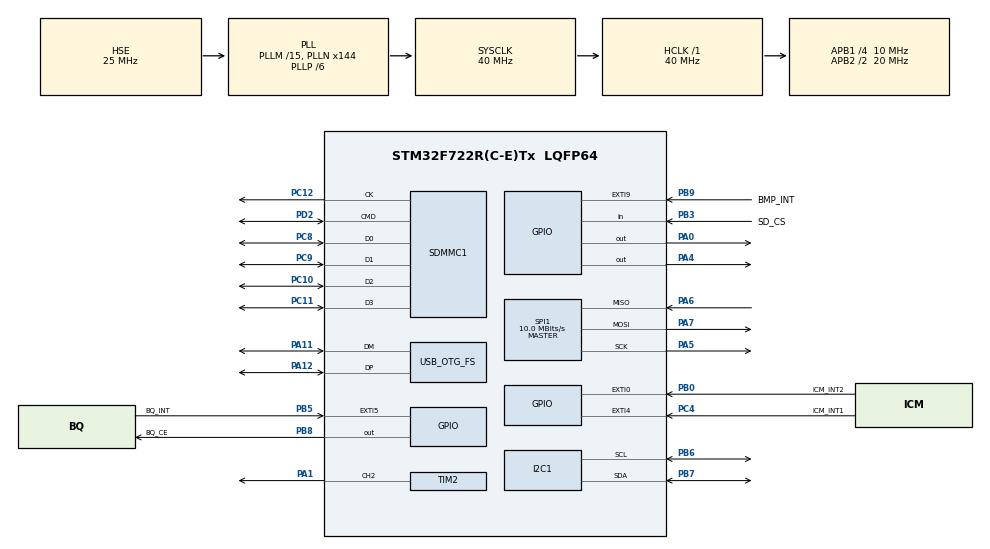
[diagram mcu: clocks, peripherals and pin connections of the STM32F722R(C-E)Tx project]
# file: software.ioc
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CORTEX_M7.default_mode_Activation=1
FATFS.BSP.number=1
FATFS0.BSP.STBoard=false
FATFS0.BSP.api=Unknown
FATFS0.BSP.instance=PB3
FATFS0.BSP.ip=GPIO
FATFS0.BSP.mode=Input
FATFS0.BSP.name=Detect_SDIO
FATFS0.BSP.solution=PB3
I2C1.Timing=0x00202538
Mcu.Family=STM32F7
Mcu.Name=STM32F722R(C-E)Tx
Mcu.Package=LQFP64
NVIC.OTG_FS_IRQn=true\:0\:0\:false\:false\:true\:false\:true\:true
NVIC.PriorityGroup=NVIC_PRIORITYGROUP_4
PA0-WKUP.Signal=GPIO_Output
PA1.Signal=S_TIM2_CH2
PA11.Mode=Device_Only
PA11.Signal=USB_OTG_FS_DM
PA12.Mode=Device_Only
PA12.Signal=USB_OTG_FS_DP
PA4.Signal=GPIO_Output
PA5.Mode=Full_Duplex_Master
PA5.Signal=SPI1_SCK
PA6.Mode=Full_Duplex_Master
PA6.Signal=SPI1_MISO
PA7.Mode=Full_Duplex_Master
PA7.Signal=SPI1_MOSI
PB0.GPIO_Label=ICM_INT2
PB0.Signal=GPXTI0
PB3.GPIO_Label=SD_CS
PB3.Signal=GPIO_Input
PB5.GPIO_Label=BQ_INT
PB5.Signal=GPXTI5
PB6.Mode=I2C
PB6.Signal=I2C1_SCL
PB7.Mode=I2C
PB7.Signal=I2C1_SDA
PB8.GPIO_Label=BQ_CE
PB8.Signal=GPIO_Output
PB9.GPIO_Label=BMP_INT
PB9.Signal=GPXTI9
PC10.Mode=SD_4_bits_Wide_bus
PC10.Signal=SDMMC1_D2
PC11.Mode=SD_4_bits_Wide_bus
PC11.Signal=SDMMC1_D3
PC12.Mode=SD_4_bits_Wide_bus
PC12.Signal=SDMMC1_CK
PC14-OSC32_IN.Mode=LSE-External-Oscillator
PC14-OSC32_IN.Signal=RCC_OSC32_IN
PC15-OSC32_OUT.Mode=LSE-External-Oscillator
PC15-OSC32_OUT.Signal=RCC_OSC32_OUT
PC4.GPIO_Label=ICM_INT1
PC4.Signal=GPXTI4
PC8.Mode=SD_4_bits_Wide_bus
PC8.Signal=SDMMC1_D0
PC9.Mode=SD_4_bits_Wide_bus
PC9.Signal=SDMMC1_D1
PD2.Mode=SD_4_bits_Wide_bus
PD2.Signal=SDMMC1_CMD
PH0-OSC_IN.Mode=HSE-External-Oscillator
PH0-OSC_IN.Signal=RCC_OSC_IN
PH1-OSC_OUT.Mode=HSE-External-Oscillator
PH1-OSC_OUT.Signal=RCC_OSC_OUT
ProjectManager.HeapSize=0x200
ProjectManager.StackSize=0x400
ProjectManager.TargetToolchain=Makefile
RCC.AHBFreq_Value=40000000
RCC.APB1CLKDivider=RCC_HCLK_DIV4
RCC.APB1Freq_Value=10000000
RCC.APB1TimFreq_Value=20000000
RCC.APB2CLKDivider=RCC_HCLK_DIV2
RCC.APB2Freq_Value=20000000
RCC.APB2TimFreq_Value=40000000
RCC.CortexFreq_Value=40000000
RCC.HCLKFreq_Value=40000000
RCC.HSE_VALUE=25000000
RCC.HSI_VALUE=16000000
RCC.PLLM=15
RCC.PLLN=144
RCC.PLLP=RCC_PLLP_DIV6
RCC.PLLQ=5
RCC.SYSCLKFreq_VALUE=40000000
RCC.SYSCLKSource=RCC_SYSCLKSOURCE_PLLCLK
RCC.USBFreq_Value=48000000
RCC.VCOOutputFreq_Value=240000000
SH.S_TIM2_CH2.0=TIM2_CH2,PWM Generation2 CH2
SPI1.CalculateBaudRate=10.0 MBits/s
SPI1.Direction=SPI_DIRECTION_2LINES
SPI1.Mode=SPI_MODE_MASTER
SPI1.VirtualType=VM_MASTER
TIM2.Channel-PWM\ Generation2\ CH2=TIM_CHANNEL_2
USB_DEVICE.CLASS_NAME_FS=CDC
USB_DEVICE.VirtualMode-CDC_FS=Cdc
USB_DEVICE.VirtualModeFS=Cdc_FS
USB_OTG_FS.VirtualMode=Device_Only
VP_FATFS_VS_SDIO.Mode=SDIO
VP_TIM2_VS_ClockSourceINT.Mode=Internal
VP_USB_DEVICE_VS_USB_DEVICE_CDC_FS.Mode=CDC_FS
board=custom

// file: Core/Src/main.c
/* USER CODE BEGIN Header */
/**
  ******************************************************************************
  * @file           : main.c
  * @brief          : Main program body
  ******************************************************************************
  * @attention
  *
  * Copyright (c) 2025 STMicroelectronics.
  * All rights reserved.
  *
  * This software is licensed under terms that can be found in the LICENSE file
  * in the root directory of this software component.
  * If no LICENSE file comes with this software, it is provided AS-IS.
  *
  ******************************************************************************
  */
/* USER CODE END Header */
#include "main.h"
#include "fatfs.h"
#include "usb_device.h"

/* USER CODE BEGIN Includes */

#include "usbd_cdc_if.h"
#include <stdio.h>
#include "fatfs.h"
#include <stdio.h>
#include <string.h>

/* USER CODE END Includes */

I2C_HandleTypeDef hi2c1;

SD_HandleTypeDef hsd1;

SPI_HandleTypeDef hspi1;

TIM_HandleTypeDef htim2;

/* USER CODE BEGIN PV */

FATFS fs;

/* USER CODE END PV */

void SystemClock_Config(void);
static void MPU_Config(void);
static void MX_GPIO_Init(void);
static void MX_I2C1_Init(void);
static void MX_SPI1_Init(void);
static void MX_SDMMC1_SD_Init(void);
static void MX_TIM2_Init(void);
/* USER CODE BEGIN PFP */

uint8_t ICM_SPI_Read(uint8_t reg);
void ICM_SPI_Write(uint8_t reg, uint8_t value);
void TestICMRegisters(void);
int16_t ICM_ReadAccelX(void);

/* USER CODE END PFP */

/* USER CODE BEGIN 0 */

void ICM_DumpRegisters(void)
{
    for(uint8_t i = 0; i < 0x20; i++)
    {
        printf("REG 0x%02X = 0x%02X\r\n",
               i,
               ICM_SPI_Read(i));
    }
}

void I2C_Scan(void)
{
    HAL_StatusTypeDef result;

    printf("Starting I2C scan...\r\n");

    for(uint8_t addr = 1; addr < 127; addr++)
    {
        printf("Checking 0x%02X\r\n", addr);

        result = HAL_I2C_IsDeviceReady(&hi2c1,
                                       addr << 1,
                                       3,
                                       100);

        printf("Result=%d\r\n", result);

        if(result == HAL_OK)
        {
            printf("Found device at 0x%02X\r\n", addr);
        }

        HAL_Delay(5);
    }

    printf("Done\r\n");
}

void ICM_Init(void)
{
    uint8_t data;

    printf("Initializing ICM45686\r\n");

    // Read WHO_AM_I
    data = ICM_SPI_Read(0x72);

    printf("WHO_AM_I = 0x%02X\r\n", data);

    // Soft reset
    ICM_SPI_Write(0x02, 0x01);

    HAL_Delay(50);

    // Power management
    ICM_SPI_Write(0x10, 0x0F);

    HAL_Delay(20);

    printf("ICM initialized\r\n");
}

void ICM_SPI_Write(uint8_t reg, uint8_t value)
{
    uint8_t tx[2];

    tx[0] = reg & 0x7F;   // SPI write
    tx[1] = value;

    HAL_GPIO_WritePin(GPIOA, GPIO_PIN_4, GPIO_PIN_RESET);

    HAL_SPI_Transmit(&hspi1,
                     tx,
                     2,
                     100);

    HAL_GPIO_WritePin(GPIOA, GPIO_PIN_4, GPIO_PIN_SET);
}

void Sensor_Check(void)
{
    uint8_t devices[] = {
        0x6B
    };

    printf("Checking sensors...\r\n");

    for(uint8_t i = 0; i < sizeof(devices); i++)
    {
        HAL_StatusTypeDef result;

        result = HAL_I2C_IsDeviceReady(&hi2c1, devices[i] << 1, 5, 100);

        if(result == HAL_OK)
        {
            printf("Sensor found at 0x%02X\r\n", devices[i]);
        }
        else
        {
            printf("No response at 0x%02X (HAL error %d)\r\n",
                   devices[i],
                   result);
        }
    }

    printf("Sensor check complete\r\n");
}

void SPI_Test(void)
{
    uint8_t tx[2];
    uint8_t rx[2];

    printf("Starting SPI test\r\n");

    // CS low
    HAL_GPIO_WritePin(GPIOA, GPIO_PIN_4, GPIO_PIN_RESET);

    // ICM45686 SPI read:
    // Register address ORed with 0x80
    tx[0] = 0x72 | 0x80;
    tx[1] = 0x00;

    HAL_StatusTypeDef status =
        HAL_SPI_TransmitReceive(&hspi1,
                                tx,
                                rx,
                                2,
                                100);

    // CS high
    HAL_GPIO_WritePin(GPIOA, GPIO_PIN_4, GPIO_PIN_SET);

    if(status != HAL_OK)
    {
        printf("SPI failed: %d\r\n", status);
        return;
    }

    printf("SPI RX: %02X %02X\r\n", rx[0], rx[1]);
}

void TestICM45686(void)
{
    uint8_t reg = 0x72;
    uint8_t value = 0;

    printf("Reading ICM WHO_AM_I\r\n");

    if(HAL_I2C_Master_Transmit(&hi2c1,
                               0x6B << 1,
                               &reg,
                               1,
                               100) != HAL_OK)
    {
        printf("Register address write failed\r\n");
        return;
    }

    if(HAL_I2C_Master_Receive(&hi2c1,
                              0x6B << 1,
                              &value,
                              1,
                              100) != HAL_OK)
    {
        printf("Read failed\r\n");
        return;
    }

    printf("WHO_AM_I = 0x%02X\r\n", value);
}

void ReadBank(void)
{
    uint8_t value;

    HAL_I2C_Mem_Read(&hi2c1,
                     0x6B << 1,
                     0x76,
                     I2C_MEMADD_SIZE_8BIT,
                     &value,
                     1,
                     100);

    printf("BANK = 0x%02X\r\n", value);
}

void SD_Test(void)
{
    FIL file;
    FRESULT result;
    UINT bytesWritten;

    printf("Starting SD test\r\n");

    printf("SD state: %lu\r\n", HAL_SD_GetCardState(&hsd1));

    printf("Before mount\r\n");

    result = f_mount(&fs, "", 1);

    printf("After mount: %d\r\n", result);

    printf("Mount result: %d\r\n", result);

    if(result != FR_OK)
    {
        return;
    }

    printf("Mount OK\r\n");

    result = f_open(&file, "test.txt", FA_CREATE_ALWAYS | FA_WRITE);

    printf("Open result: %d\r\n", result);

    if(result != FR_OK)
    {
        return;
    }

    char text[] = "STM32 Flight Computer SD Test\r\n";

    result = f_write(&file,
                     text,
                     strlen(text),
                     &bytesWritten);

    printf("Write result: %d bytes=%u\r\n",
           result,
           bytesWritten);

    f_close(&file);

    printf("Done\r\n");
}

void TestICMRegisters(void)
{
    uint8_t whoami;
    uint8_t bank;
    uint8_t status;

    whoami = ICM_SPI_Read(0x72);
    bank   = ICM_SPI_Read(0x76);
    status = ICM_SPI_Read(0x2D);

    printf("WHO_AM_I: 0x%02X\r\n", whoami);
    printf("BANK:     0x%02X\r\n", bank);
    printf("STATUS:   0x%02X\r\n", status);
}

uint8_t ICM_SPI_Read(uint8_t reg)
{
    uint8_t tx[2];
    uint8_t rx[2];

    tx[0] = reg | 0x80; // SPI read
    tx[1] = 0x00;

    HAL_GPIO_WritePin(GPIOA, GPIO_PIN_4, GPIO_PIN_RESET);

    HAL_SPI_TransmitReceive(&hspi1,
                            tx,
                            rx,
                            2,
                            100);

    HAL_GPIO_WritePin(GPIOA, GPIO_PIN_4, GPIO_PIN_SET);

    return rx[1];
}

int16_t ICM_ReadAccelX(void)
{
    uint8_t high;
    uint8_t low;

    high = ICM_SPI_Read(0x00);
    low  = ICM_SPI_Read(0x01);

    return ((int16_t)high << 8) | low;
}

void TestICM_SPI(void)
{
    uint8_t whoami;

    whoami = ICM_SPI_Read(0x72);

    printf("SPI WHO_AM_I = 0x%02X\r\n", whoami);
}

/* USER CODE END 0 */

int main(void)
{

  /* MPU Configuration--------------------------------------------------------*/
  MPU_Config();

  /* MCU Configuration--------------------------------------------------------*/

  /* Reset of all peripherals, Initializes the Flash interface and the Systick. */
  HAL_Init();

  /* Configure the system clock */
  SystemClock_Config();

  /* Initialize all configured peripherals */
  MX_GPIO_Init();
  MX_I2C1_Init();
  MX_SPI1_Init();
  MX_SDMMC1_SD_Init();
  MX_TIM2_Init();
  MX_USB_DEVICE_Init();
  MX_FATFS_Init();
  /* USER CODE BEGIN 2 */

  HAL_Delay(1000);   // give USB time to enumerate

  HAL_GPIO_WritePin(GPIOA, GPIO_PIN_0, GPIO_PIN_SET);
  HAL_Delay(10);

  I2C_Scan();
  Sensor_Check();
  TestICM45686();
  ReadBank();

  ICM_Init();
  ICM_DumpRegisters();

  /* USER CODE END 2 */

  /* Infinite loop */
  while (1)
  {

    /* USER CODE BEGIN 3 */

    int16_t accel_x = ICM_ReadAccelX();

    printf("Accel X = %d\r\n", accel_x);

    HAL_Delay(100);

  }
  /* USER CODE END 3 */
}

void SystemClock_Config(void)
{
  RCC_OscInitTypeDef RCC_OscInitStruct = {0};
  RCC_ClkInitTypeDef RCC_ClkInitStruct = {0};

  /** Configure LSE Drive Capability
  */
  HAL_PWR_EnableBkUpAccess();

  /** Configure the main internal regulator output voltage
  */
  __HAL_RCC_PWR_CLK_ENABLE();
  __HAL_PWR_VOLTAGESCALING_CONFIG(PWR_REGULATOR_VOLTAGE_SCALE3);

  /** Initializes the RCC Oscillators according to the specified parameters
  * in the RCC_OscInitTypeDef structure.
  */
  RCC_OscInitStruct.OscillatorType = RCC_OSCILLATORTYPE_HSE;
  RCC_OscInitStruct.HSEState = RCC_HSE_ON;
  RCC_OscInitStruct.PLL.PLLState = RCC_PLL_ON;
  RCC_OscInitStruct.PLL.PLLSource = RCC_PLLSOURCE_HSE;
  RCC_OscInitStruct.PLL.PLLM = 15;
  RCC_OscInitStruct.PLL.PLLN = 144;
  RCC_OscInitStruct.PLL.PLLP = RCC_PLLP_DIV6;
  RCC_OscInitStruct.PLL.PLLQ = 5;
  if (HAL_RCC_OscConfig(&RCC_OscInitStruct) != HAL_OK)
  {
    Error_Handler();
  }

  /** Initializes the CPU, AHB and APB buses clocks
  */
  RCC_ClkInitStruct.ClockType = RCC_CLOCKTYPE_HCLK|RCC_CLOCKTYPE_SYSCLK
                              |RCC_CLOCKTYPE_PCLK1|RCC_CLOCKTYPE_PCLK2;
  RCC_ClkInitStruct.SYSCLKSource = RCC_SYSCLKSOURCE_PLLCLK;
  RCC_ClkInitStruct.AHBCLKDivider = RCC_SYSCLK_DIV1;
  RCC_ClkInitStruct.APB1CLKDivider = RCC_HCLK_DIV4;
  RCC_ClkInitStruct.APB2CLKDivider = RCC_HCLK_DIV2;

  if (HAL_RCC_ClockConfig(&RCC_ClkInitStruct, FLASH_LATENCY_1) != HAL_OK)
  {
    Error_Handler();
  }
}

static void MX_I2C1_Init(void)
{

  hi2c1.Instance = I2C1;
  hi2c1.Init.Timing = 0x00202538;
  hi2c1.Init.OwnAddress1 = 0;
  hi2c1.Init.AddressingMode = I2C_ADDRESSINGMODE_7BIT;
  hi2c1.Init.DualAddressMode = I2C_DUALADDRESS_DISABLE;
  hi2c1.Init.OwnAddress2 = 0;
  hi2c1.Init.OwnAddress2Masks = I2C_OA2_NOMASK;
  hi2c1.Init.GeneralCallMode = I2C_GENERALCALL_DISABLE;
  hi2c1.Init.NoStretchMode = I2C_NOSTRETCH_DISABLE;
  if (HAL_I2C_Init(&hi2c1) != HAL_OK)
  {
    Error_Handler();
  }

  /** Configure Analogue filter
  */
  if (HAL_I2CEx_ConfigAnalogFilter(&hi2c1, I2C_ANALOGFILTER_ENABLE) != HAL_OK)
  {
    Error_Handler();
  }

  /** Configure Digital filter
  */
  if (HAL_I2CEx_ConfigDigitalFilter(&hi2c1, 0) != HAL_OK)
  {
    Error_Handler();
  }

}

static void MX_SDMMC1_SD_Init(void)
{

  hsd1.Instance = SDMMC1;
  hsd1.Init.ClockEdge = SDMMC_CLOCK_EDGE_RISING;
  hsd1.Init.ClockBypass = SDMMC_CLOCK_BYPASS_DISABLE;
  hsd1.Init.ClockPowerSave = SDMMC_CLOCK_POWER_SAVE_DISABLE;
  hsd1.Init.BusWide = SDMMC_BUS_WIDE_1B;
  hsd1.Init.HardwareFlowControl = SDMMC_HARDWARE_FLOW_CONTROL_DISABLE;
  hsd1.Init.ClockDiv = 0;

}

static void MX_SPI1_Init(void)
{

  /* SPI1 parameter configuration*/
  hspi1.Instance = SPI1;
  hspi1.Init.Mode = SPI_MODE_MASTER;
  hspi1.Init.Direction = SPI_DIRECTION_2LINES;
  hspi1.Init.DataSize = SPI_DATASIZE_8BIT;
  hspi1.Init.CLKPolarity = SPI_POLARITY_LOW;
  hspi1.Init.CLKPhase = SPI_PHASE_1EDGE;
  hspi1.Init.NSS = SPI_NSS_SOFT;
  hspi1.Init.BaudRatePrescaler = SPI_BAUDRATEPRESCALER_32;
  hspi1.Init.FirstBit = SPI_FIRSTBIT_MSB;
  hspi1.Init.TIMode = SPI_TIMODE_DISABLE;
  hspi1.Init.CRCCalculation = SPI_CRCCALCULATION_DISABLE;
  hspi1.Init.CRCPolynomial = 7;
  hspi1.Init.CRCLength = SPI_CRC_LENGTH_DATASIZE;
  hspi1.Init.NSSPMode = SPI_NSS_PULSE_ENABLE;
  if (HAL_SPI_Init(&hspi1) != HAL_OK)
  {
    Error_Handler();
  }

}

static void MX_TIM2_Init(void)
{

  TIM_ClockConfigTypeDef sClockSourceConfig = {0};
  TIM_MasterConfigTypeDef sMasterConfig = {0};
  TIM_OC_InitTypeDef sConfigOC = {0};

  htim2.Instance = TIM2;
  htim2.Init.Prescaler = 0;
  htim2.Init.CounterMode = TIM_COUNTERMODE_UP;
  htim2.Init.Period = 4294967295;
  htim2.Init.ClockDivision = TIM_CLOCKDIVISION_DIV1;
  htim2.Init.AutoReloadPreload = TIM_AUTORELOAD_PRELOAD_DISABLE;
  if (HAL_TIM_Base_Init(&htim2) != HAL_OK)
  {
    Error_Handler();
  }
  sClockSourceConfig.ClockSource = TIM_CLOCKSOURCE_INTERNAL;
  if (HAL_TIM_ConfigClockSource(&htim2, &sClockSourceConfig) != HAL_OK)
  {
    Error_Handler();
  }
  if (HAL_TIM_PWM_Init(&htim2) != HAL_OK)
  {
    Error_Handler();
  }
  sMasterConfig.MasterOutputTrigger = TIM_TRGO_RESET;
  sMasterConfig.MasterSlaveMode = TIM_MASTERSLAVEMODE_DISABLE;
  if (HAL_TIMEx_MasterConfigSynchronization(&htim2, &sMasterConfig) != HAL_OK)
  {
    Error_Handler();
  }
  sConfigOC.OCMode = TIM_OCMODE_PWM1;
  sConfigOC.Pulse = 0;
  sConfigOC.OCPolarity = TIM_OCPOLARITY_HIGH;
  sConfigOC.OCFastMode = TIM_OCFAST_DISABLE;
  if (HAL_TIM_PWM_ConfigChannel(&htim2, &sConfigOC, TIM_CHANNEL_2) != HAL_OK)
  {
    Error_Handler();
  }
  HAL_TIM_MspPostInit(&htim2);

}

static void MX_GPIO_Init(void)
{
  GPIO_InitTypeDef GPIO_InitStruct = {0};

  /* GPIO Ports Clock Enable */
  __HAL_RCC_GPIOC_CLK_ENABLE();
  __HAL_RCC_GPIOH_CLK_ENABLE();
  __HAL_RCC_GPIOA_CLK_ENABLE();
  __HAL_RCC_GPIOB_CLK_ENABLE();
  __HAL_RCC_GPIOD_CLK_ENABLE();

  /*Configure GPIO pin Output Level */
  HAL_GPIO_WritePin(GPIOA, GPIO_PIN_4, GPIO_PIN_RESET); // ICM CS low
  HAL_GPIO_WritePin(GPIOA, GPIO_PIN_0, GPIO_PIN_SET);   // BQ enable
  HAL_Delay(10);

  /*Configure GPIO pin Output Level */
  HAL_GPIO_WritePin(BQ_CE_GPIO_Port, BQ_CE_Pin, GPIO_PIN_RESET);

  /*Configure GPIO pins : PA0 PA4 */
  GPIO_InitStruct.Pin = GPIO_PIN_0|GPIO_PIN_4;
  GPIO_InitStruct.Mode = GPIO_MODE_OUTPUT_PP;
  GPIO_InitStruct.Pull = GPIO_NOPULL;
  GPIO_InitStruct.Speed = GPIO_SPEED_FREQ_VERY_HIGH;
  HAL_GPIO_Init(GPIOA, &GPIO_InitStruct);

  /*Configure GPIO pin : ICM_INT1_Pin */
  GPIO_InitStruct.Pin = ICM_INT1_Pin;
  GPIO_InitStruct.Mode = GPIO_MODE_IT_RISING;
  GPIO_InitStruct.Pull = GPIO_NOPULL;
  HAL_GPIO_Init(ICM_INT1_GPIO_Port, &GPIO_InitStruct);

  /*Configure GPIO pins : ICM_INT2_Pin BQ_INT_Pin BMP_INT_Pin */
  GPIO_InitStruct.Pin = ICM_INT2_Pin|BQ_INT_Pin|BMP_INT_Pin;
  GPIO_InitStruct.Mode = GPIO_MODE_IT_RISING;
  GPIO_InitStruct.Pull = GPIO_NOPULL;
  HAL_GPIO_Init(GPIOB, &GPIO_InitStruct);

  /*Configure GPIO pin : SD_CS_Pin */
  GPIO_InitStruct.Pin = SD_CS_Pin;
  GPIO_InitStruct.Mode = GPIO_MODE_INPUT;
  GPIO_InitStruct.Pull = GPIO_NOPULL;
  HAL_GPIO_Init(SD_CS_GPIO_Port, &GPIO_InitStruct);

  /*Configure GPIO pin : BQ_CE_Pin */
  GPIO_InitStruct.Pin = BQ_CE_Pin;
  GPIO_InitStruct.Mode = GPIO_MODE_OUTPUT_PP;
  GPIO_InitStruct.Pull = GPIO_NOPULL;
  GPIO_InitStruct.Speed = GPIO_SPEED_FREQ_LOW;
  HAL_GPIO_Init(BQ_CE_GPIO_Port, &GPIO_InitStruct);

}

/* USER CODE BEGIN 4 */

int _write(int file, char *ptr, int len)
{
    if (CDC_Transmit_FS((uint8_t*)ptr, len) == USBD_OK)
    {
        return len;
    }

    return 0;
}

/* USER CODE END 4 */

 /* MPU Configuration */

void MPU_Config(void)
{
  MPU_Region_InitTypeDef MPU_InitStruct = {0};

  /* Disables the MPU */
  HAL_MPU_Disable();

  /** Initializes and configures the Region and the memory to be protected
  */
  MPU_InitStruct.Enable = MPU_REGION_ENABLE;
  MPU_InitStruct.Number = MPU_REGION_NUMBER0;
  MPU_InitStruct.BaseAddress = 0x0;
  MPU_InitStruct.Size = MPU_REGION_SIZE_4GB;
  MPU_InitStruct.SubRegionDisable = 0x87;
  MPU_InitStruct.TypeExtField = MPU_TEX_LEVEL0;
  MPU_InitStruct.AccessPermission = MPU_REGION_NO_ACCESS;
  MPU_InitStruct.DisableExec = MPU_INSTRUCTION_ACCESS_DISABLE;
  MPU_InitStruct.IsShareable = MPU_ACCESS_SHAREABLE;
  MPU_InitStruct.IsCacheable = MPU_ACCESS_NOT_CACHEABLE;
  MPU_InitStruct.IsBufferable = MPU_ACCESS_NOT_BUFFERABLE;

  HAL_MPU_ConfigRegion(&MPU_InitStruct);
  /* Enables the MPU */
  HAL_MPU_Enable(MPU_PRIVILEGED_DEFAULT);

}

void Error_Handler(void)
{
  __disable_irq();
  while (1)
  {
  }
}
